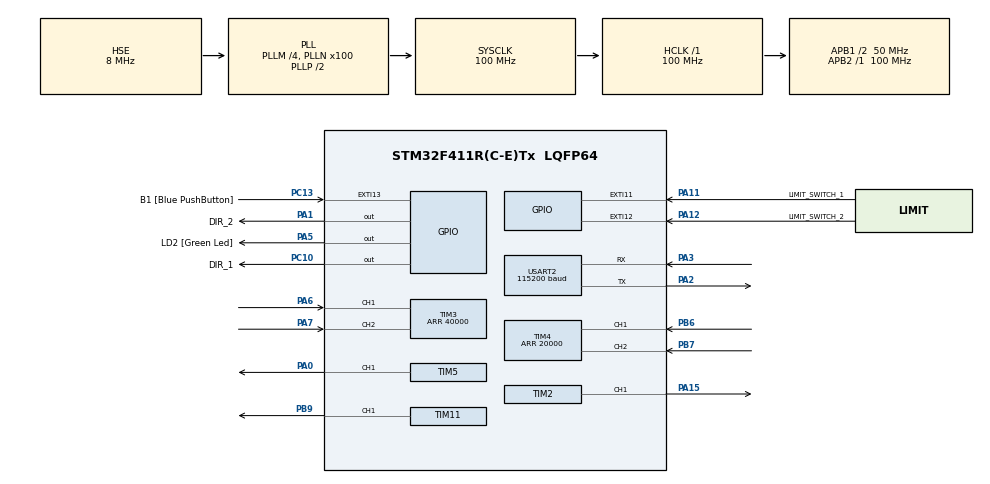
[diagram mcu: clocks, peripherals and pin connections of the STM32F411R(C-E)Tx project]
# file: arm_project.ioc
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Dma.Request0=USART2_RX
Dma.Request1=USART2_TX
Dma.USART2_RX.0.Direction=DMA_PERIPH_TO_MEMORY
Dma.USART2_RX.0.FIFOMode=DMA_FIFOMODE_DISABLE
Dma.USART2_RX.0.Instance=DMA1_Stream5
Dma.USART2_RX.0.MemDataAlignment=DMA_MDATAALIGN_BYTE
Dma.USART2_RX.0.MemInc=DMA_MINC_ENABLE
Dma.USART2_RX.0.Mode=DMA_CIRCULAR
Dma.USART2_RX.0.PeriphDataAlignment=DMA_PDATAALIGN_BYTE
Dma.USART2_RX.0.PeriphInc=DMA_PINC_DISABLE
Dma.USART2_RX.0.Priority=DMA_PRIORITY_MEDIUM
Dma.USART2_TX.1.Direction=DMA_MEMORY_TO_PERIPH
Dma.USART2_TX.1.FIFOMode=DMA_FIFOMODE_DISABLE
Dma.USART2_TX.1.Instance=DMA1_Stream6
Dma.USART2_TX.1.MemDataAlignment=DMA_MDATAALIGN_BYTE
Dma.USART2_TX.1.MemInc=DMA_MINC_ENABLE
Dma.USART2_TX.1.Mode=DMA_NORMAL
Dma.USART2_TX.1.PeriphDataAlignment=DMA_PDATAALIGN_BYTE
Dma.USART2_TX.1.PeriphInc=DMA_PINC_DISABLE
Dma.USART2_TX.1.Priority=DMA_PRIORITY_MEDIUM
Mcu.Family=STM32F4
Mcu.Name=STM32F411R(C-E)Tx
Mcu.Package=LQFP64
NVIC.DMA1_Stream5_IRQn=true\:0\:0\:false\:false\:true\:false\:true\:true
NVIC.DMA1_Stream6_IRQn=true\:0\:0\:false\:false\:true\:false\:true\:true
NVIC.EXTI15_10_IRQn=true\:0\:0\:false\:false\:true\:true\:true\:true
NVIC.PriorityGroup=NVIC_PRIORITYGROUP_4
NVIC.TIM1_UP_TIM10_IRQn=true\:0\:0\:false\:false\:true\:true\:true\:true
NVIC.TIM3_IRQn=true\:0\:0\:false\:false\:true\:true\:true\:true
NVIC.TIM4_IRQn=true\:0\:0\:false\:false\:true\:true\:true\:true
NVIC.USART2_IRQn=true\:0\:0\:false\:false\:true\:true\:true\:true
PA0-WKUP.Signal=S_TIM5_CH1
PA1.GPIO_Label=DIR_2
PA1.GPIO_PuPd=GPIO_NOPULL
PA1.Signal=GPIO_Output
PA11.GPIO_Label=LIMIT_SWITCH_1
PA11.GPIO_ModeDefaultEXTI=GPIO_MODE_IT_RISING
PA11.GPIO_PuPd=GPIO_PULLDOWN
PA11.Signal=GPXTI11
PA12.GPIO_Label=LIMIT_SWITCH_2
PA12.GPIO_ModeDefaultEXTI=GPIO_MODE_IT_RISING
PA12.GPIO_PuPd=GPIO_PULLDOWN
PA12.Signal=GPXTI12
PA13.GPIO_Label=TMS
PA13.Mode=Serial_Wire
PA13.Signal=SYS_JTMS-SWDIO
PA14.GPIO_Label=TCK
PA14.Mode=Serial_Wire
PA14.Signal=SYS_JTCK-SWCLK
PA15.Signal=S_TIM2_CH1_ETR
PA2.GPIO_ModeDefaultPP=GPIO_MODE_AF_PP
PA2.GPIO_PuPd=GPIO_NOPULL
PA2.GPIO_Speed=GPIO_SPEED_FREQ_VERY_HIGH
PA2.Mode=Asynchronous
PA2.Signal=USART2_TX
PA3.GPIO_ModeDefaultPP=GPIO_MODE_AF_PP
PA3.GPIO_PuPd=GPIO_NOPULL
PA3.GPIO_Speed=GPIO_SPEED_FREQ_VERY_HIGH
PA3.Mode=Asynchronous
PA3.Signal=USART2_RX
PA5.GPIO_Label=LD2 [Green Led]
PA5.Signal=GPIO_Output
PA6.Signal=S_TIM3_CH1
PA7.Signal=S_TIM3_CH2
PB3.GPIO_Label=SWO
PB3.Signal=SYS_JTDO-SWO
PB6.Signal=S_TIM4_CH1
PB7.Signal=S_TIM4_CH2
PB9.Signal=S_TIM11_CH1
PC10.GPIO_Label=DIR_1
PC10.GPIO_PuPd=GPIO_NOPULL
PC10.Signal=GPIO_Output
PC13-ANTI_TAMP.GPIO_Label=B1 [Blue PushButton]
PC13-ANTI_TAMP.GPIO_ModeDefaultEXTI=GPIO_MODE_IT_FALLING
PC13-ANTI_TAMP.Signal=GPXTI13
PC14-OSC32_IN.Mode=LSE-External-Oscillator
PC14-OSC32_IN.Signal=RCC_OSC32_IN
PC15-OSC32_OUT.Mode=LSE-External-Oscillator
PC15-OSC32_OUT.Signal=RCC_OSC32_OUT
PH0\ -\ OSC_IN.Mode=HSE-External-Clock-Source
PH0\ -\ OSC_IN.Signal=RCC_OSC_IN
PH1\ -\ OSC_OUT.Mode=HSE-External-Clock-Source
PH1\ -\ OSC_OUT.Signal=RCC_OSC_OUT
ProjectManager.HeapSize=0x200
ProjectManager.StackSize=0x400
ProjectManager.TargetToolchain=STM32CubeIDE
RCC.48MHZClocksFreq_Value=50000000
RCC.AHBFreq_Value=100000000
RCC.APB1CLKDivider=RCC_HCLK_DIV2
RCC.APB1Freq_Value=50000000
RCC.APB1TimFreq_Value=100000000
RCC.APB2Freq_Value=100000000
RCC.APB2TimFreq_Value=100000000
RCC.CortexFreq_Value=100000000
RCC.EnbaleCSS=true
RCC.FLatency-AdvancedSettings=FLASH_LATENCY_3
RCC.HCLKFreq_Value=100000000
RCC.HSE_VALUE=8000000
RCC.HSI_VALUE=16000000
RCC.PLLM=4
RCC.PLLN=100
RCC.PLLSourceVirtual=RCC_PLLSOURCE_HSE
RCC.SYSCLKFreq_VALUE=100000000
RCC.SYSCLKSource=RCC_SYSCLKSOURCE_PLLCLK
RCC.VCOOutputFreq_Value=200000000
SH.S_TIM11_CH1.0=TIM11_CH1,PWM Generation1 CH1
SH.S_TIM2_CH1_ETR.0=TIM2_CH1,PWM Generation1 CH1
SH.S_TIM3_CH1.0=TIM3_CH1,Encoder_Interface
SH.S_TIM3_CH2.0=TIM3_CH2,Encoder_Interface
SH.S_TIM4_CH1.0=TIM4_CH1,Encoder_Interface
SH.S_TIM4_CH2.0=TIM4_CH2,Encoder_Interface
SH.S_TIM5_CH1.0=TIM5_CH1,PWM Generation1 CH1
TIM10.Period=199
TIM10.Prescaler=999
TIM11.Channel=TIM_CHANNEL_1
TIM11.Period=19999
TIM11.Prescaler=99
TIM2.Channel-PWM\ Generation1\ CH1=TIM_CHANNEL_1
TIM2.Prescaler=0
TIM3.EncoderMode=TIM_ENCODERMODE_TI12
TIM3.Period=40000
TIM4.EncoderMode=TIM_ENCODERMODE_TI12
TIM4.Period=20000
TIM5.Channel-PWM\ Generation1\ CH1=TIM_CHANNEL_1
TIM5.Prescaler=0
USART2.BaudRate=115200
USART2.VirtualMode=VM_ASYNC
VP_TIM10_VS_ClockSourceINT.Mode=Enable_Timer
VP_TIM11_VS_ClockSourceINT.Mode=Enable_Timer
board=NUCLEO-F411RE

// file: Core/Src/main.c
/* USER CODE BEGIN Header */
/**
  ******************************************************************************
  * @file           : main.c
  * @brief          : Main program body
  ******************************************************************************
  * @attention
  *
  * Copyright (c) 2025 STMicroelectronics.
  * All rights reserved.
  *
  * This software is licensed under terms that can be found in the LICENSE file
  * in the root directory of this software component.
  * If no LICENSE file comes with this software, it is provided AS-IS.
  *
  ******************************************************************************
  */
/* USER CODE END Header */
#include "main.h"
#include "dma.h"
#include "tim.h"
#include "usart.h"
#include "gpio.h"

/* USER CODE BEGIN Includes */
#include "encoder.h"
#include "manipulator.h"
// Note: manipulator.h includes protocol.h and controller.h now, so functions are available.
/* USER CODE END Includes */

/* USER CODE BEGIN PV */
// --- GLOBAL INSTANCES ---
manipulator_t manipulator;
encoder_t enc1;
encoder_t enc2;
uint32_t tick=0;
uint32_t switch_count1=0;
uint32_t switch_count2=0;

// Configurable Control Loop Period (default 10ms)
volatile uint32_t control_loop_period_ms = 10;
/* USER CODE END PV */

void SystemClock_Config(void);

int main(void)
{

  /* MCU Configuration--------------------------------------------------------*/

  /* Reset of all peripherals, Initializes the Flash interface and the Systick. */
  HAL_Init();

  /* Configure the system clock */
  SystemClock_Config();

  /* Initialize all configured peripherals */
  MX_GPIO_Init();
  MX_DMA_Init();
  MX_USART2_UART_Init();
  MX_TIM3_Init();
  MX_TIM4_Init();
  MX_TIM2_Init();
  MX_TIM5_Init();
  MX_TIM10_Init();
  MX_TIM11_Init();
  /* USER CODE BEGIN 2 */

  // --- SYSTEM INITIALIZATION ---
  encoder_init(&htim3, &enc1);
  encoder_init(&htim4, &enc2);
  manipulator_init(&manipulator, &enc1, &enc2, &htim5, &htim2, &htim10, &htim11);
  manipulator_start(&manipulator);
  HAL_TIM_Base_Start_IT(&htim10);

  calibration_start(&manipulator);
  // Start UART DMA Reception
  HAL_UART_Receive_DMA(&huart2, uart_rx_buffer, UART_RX_BUFFER_SIZE);
  /* USER CODE END 2 */

  /* Infinite loop */
  /* USER CODE BEGIN WHILE */
  static uint8_t homing_completed_first_time = 0;
  static uint8_t target_reached_flag = 0;

  // --- MAIN LOOP ---
  while (1)
  {
    // Process UART packets
    manipulator_uart_process(&manipulator, &huart2);
    // Send Telemetry
    manipulator_handle_telemetry(&manipulator, &huart2);

    // If calibrating, skip the rest and handle limits via polling
    if(calibration_check(&manipulator)){
        if(manipulator.calibration_triggered == 1){
            // Polling Limit Switch 1
            if(HAL_GPIO_ReadPin(LIMIT_SWITCH_1_GPIO_Port, LIMIT_SWITCH_1_Pin) == GPIO_PIN_SET){
                calibration_stage2(&manipulator);
                tick = HAL_GetTick(); // Use tick as a debounce timer
            }
        } else if(manipulator.calibration_triggered == 2){
            // Polling Limit Switch 2 (with 500ms debounce from stage 2 start)
            if((HAL_GetTick() - tick) > 500){
                if(HAL_GPIO_ReadPin(LIMIT_SWITCH_2_GPIO_Port, LIMIT_SWITCH_2_Pin) == GPIO_PIN_SET){
                    calibration_encoder(&manipulator, &manipulator.encoder_2, CALIBRATION_2);
                    calibration_stop(&manipulator);
                }
            }
        }
        continue;
    }

    // If not homed, perform homing
	if(homing_check(&manipulator) == 0){
		if((HAL_GetTick() - tick) > 10){
			tick = HAL_GetTick();
			homing(&manipulator);
		}
		continue;
	}

    // --- CONTROL LOOP (approx 100Hz default, configurable) ---
    if((HAL_GetTick() - tick) > control_loop_period_ms){
        tick = HAL_GetTick();

        // Consume a point from the queue if available
        if (manipulator_process_motion_queue(&manipulator)) {
            target_reached_flag = 0; // If we have new points, reset arrival flag
        }

        if (target_reached_flag == 0) {
            // Check if target is reached (tolerance: 0.0025 rad position, 0.01 rad/s velocity, stable for 50ms (5 ticks))
            // Note: if executing a trajectory, the target changes continuously, so check_target_reached might not trigger until we stop.
            // However, if the buffer empties, process_motion_queue sets dq=0, so we might stop.

            if (manipulator_check_target_reached(&manipulator, 0.0025f, 0.01f, 5)) {
                target_reached_flag = 1;
                // Stop motors
                apply_velocity_input(&manipulator, (float[]){0.0f, 0.0f});
            } else {
                // Run position control
                manipulator_update_position_controller(&manipulator);
            }
        }
    }

    /* USER CODE END WHILE */

  }
}

void SystemClock_Config(void)
{
  RCC_OscInitTypeDef RCC_OscInitStruct = {0};
  RCC_ClkInitTypeDef RCC_ClkInitStruct = {0};

  /** Configure the main internal regulator output voltage
  */
  __HAL_RCC_PWR_CLK_ENABLE();
  __HAL_PWR_VOLTAGESCALING_CONFIG(PWR_REGULATOR_VOLTAGE_SCALE1);

  /** Initializes the RCC Oscillators according to the specified parameters
  * in the RCC_OscInitTypeDef structure.
  */
  RCC_OscInitStruct.OscillatorType = RCC_OSCILLATORTYPE_HSE;
  RCC_OscInitStruct.HSEState = RCC_HSE_BYPASS;
  RCC_OscInitStruct.PLL.PLLState = RCC_PLL_ON;
  RCC_OscInitStruct.PLL.PLLSource = RCC_PLLSOURCE_HSE;
  RCC_OscInitStruct.PLL.PLLM = 4;
  RCC_OscInitStruct.PLL.PLLN = 100;
  RCC_OscInitStruct.PLL.PLLP = RCC_PLLP_DIV2;
  RCC_OscInitStruct.PLL.PLLQ = 4;
  if (HAL_RCC_OscConfig(&RCC_OscInitStruct) != HAL_OK)
  {
    Error_Handler();
  }

  /** Initializes the CPU, AHB and APB buses clocks
  */
  RCC_ClkInitStruct.ClockType = RCC_CLOCKTYPE_HCLK|RCC_CLOCKTYPE_SYSCLK
                              |RCC_CLOCKTYPE_PCLK1|RCC_CLOCKTYPE_PCLK2;
  RCC_ClkInitStruct.SYSCLKSource = RCC_SYSCLKSOURCE_PLLCLK;
  RCC_ClkInitStruct.AHBCLKDivider = RCC_SYSCLK_DIV1;
  RCC_ClkInitStruct.APB1CLKDivider = RCC_HCLK_DIV2;
  RCC_ClkInitStruct.APB2CLKDivider = RCC_HCLK_DIV1;

  if (HAL_RCC_ClockConfig(&RCC_ClkInitStruct, FLASH_LATENCY_3) != HAL_OK)
  {
    Error_Handler();
  }

  /** Enables the Clock Security System
  */
  HAL_RCC_EnableCSS();
}

/* USER CODE BEGIN 4 */
// --- INTERRUPT CALLBACKS ---
void HAL_TIM_PeriodElapsedCallback(TIM_HandleTypeDef *htim){
	if(htim->Instance == TIM10){ /* check if it is the proper instance */
    manipulator_read_status(&manipulator);
	}
}

void HAL_GPIO_EXTI_Callback(uint16_t GPIO_Pin){
    // Limit switch calibration logic is now polled in the main loop to avoid missing edges.
    // We only keep the standalone stop logic when not calibrating.
    if(GPIO_Pin==LIMIT_SWITCH_1_Pin){
    	switch_count1+=1;
        if(manipulator.calibration_triggered == 0){
          manipulator_set_motor_velocity(&manipulator, MOTOR_1, 0.0f);
        }
    }

    if (GPIO_Pin==LIMIT_SWITCH_2_Pin){
    	switch_count2+=1;
        if(manipulator.calibration_triggered == 0){
          manipulator_set_motor_velocity(&manipulator, MOTOR_2, 0.0f);
        }
    }
}

/* USER CODE END 4 */

void Error_Handler(void)
{
  __disable_irq();
  while (1)
  {
  }
}
